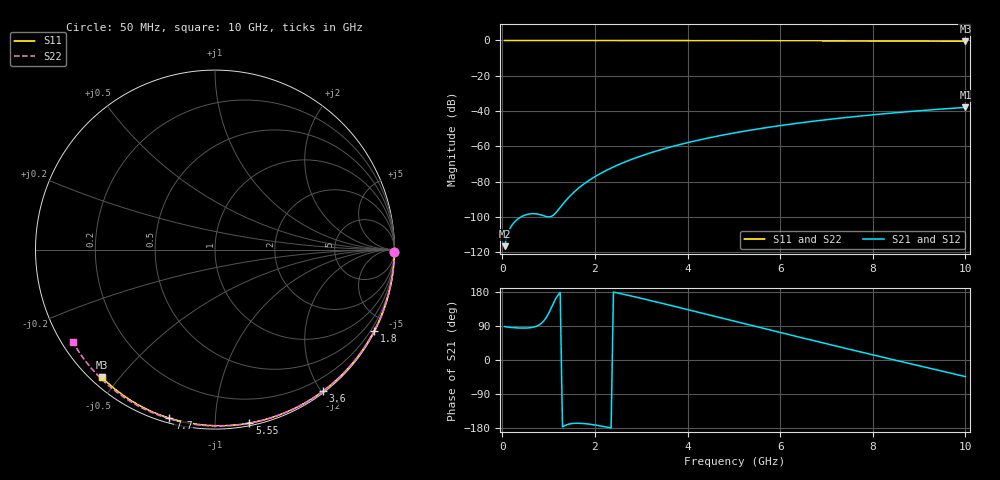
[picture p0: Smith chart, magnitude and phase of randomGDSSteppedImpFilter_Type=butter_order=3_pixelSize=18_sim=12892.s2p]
! freq	dB(S11)	phase(S11)	dB(S12)	phase(S12)
!  dB(S21)	phase(S21)	dB(S22)	phase(S22)
!S-par simulation data
#  GHz  S  DB  R 50
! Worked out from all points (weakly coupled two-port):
!   200 points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, 50 MHz to 10 GHz, reference 50 ohm
!   highest |S21| = -37.88 dB at 10 GHz (marker M1); lowest = -116.4 dB at 50 MHz (marker M2)
!   lowest |S11| = -0.4 dB at 10 GHz (marker M3), VSWR 39.08, Z = 1.54 - j22.5 ohm
!   |S11| at or under -10 dB: nowhere
!   |S22| runs from -0.5 to 0.0 dB; largest |S21 - S12| = 0
!   S11 on the Smith chart (normalised r, x): 50 MHz: open; 1.8 GHz: 0.04, -4.17; 3.6 GHz: 0.02, -2.02; 5.55 GHz: 0.02, -1.22; 7.7 GHz: 0.02, -0.76; 10 GHz: 0.03, -0.45
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0.05  -0.00 -0.8  -116.43 88.3  -116.43 88.3  -0.00 -0.9
0.45  -0.01 -6.8  -99.26 84.2  -99.26 84.2  -0.01 -7.7
0.9  -0.02 -13.6  -99.26 103.6  -99.26 103.6  -0.02 -15.3
1.3  -0.02 -19.6  -92.87 -176.8  -92.87 -176.8  -0.03 -22.0
1.75  -0.03 -26.2  -81.46 -167.6  -81.46 -167.6  -0.04 -29.4
1.8  -0.03 -27.0  -80.50 -168.1  -80.50 -168.1  -0.04 -30.2
1.85  -0.04 -27.7  -79.60 -168.8  -79.60 -168.8  -0.04 -31.1
2.05  -0.04 -30.6  -76.32 -172.5  -76.32 -172.5  -0.04 -34.3
2.2  -0.04 -32.8  -74.17 -175.8  -74.17 -175.8  -0.05 -36.8
2.55  -0.05 -37.9  -69.85 175.3  -69.85 175.3  -0.05 -42.4
2.95  -0.06 -43.6  -65.80 164.2  -65.80 164.2  -0.06 -48.8
3.4  -0.07 -50.0  -62.01 151.0  -62.01 151.0  -0.07 -55.9
3.6  -0.07 -52.7  -60.52 145.1  -60.52 145.1  -0.08 -59.0
4.3  -0.09 -62.3  -56.04 124.0  -56.04 124.0  -0.10 -69.6
5.05  -0.11 -72.3  -52.16 101.3  -52.16 101.3  -0.12 -80.6
5.55  -0.13 -78.8  -49.96 86.2  -49.96 86.2  -0.14 -87.8
6.1  -0.15 -85.7  -47.82 69.7  -47.82 69.7  -0.17 -95.5
6.7  -0.18 -93.2  -45.77 51.8  -45.77 51.8  -0.20 -103.7
7.7  -0.24 -105.2  -42.85 22.3  -42.85 22.3  -0.27 -117.0
8.35  -0.29 -112.8  -41.24 3.5  -41.24 3.5  -0.32 -125.5
9.2  -0.36 -122.5  -39.38 -21.0  -39.38 -21.0  -0.40 -136.5
10  -0.44 -131.6  -37.88 -43.8  -37.88 -43.8  -0.50 -146.9
